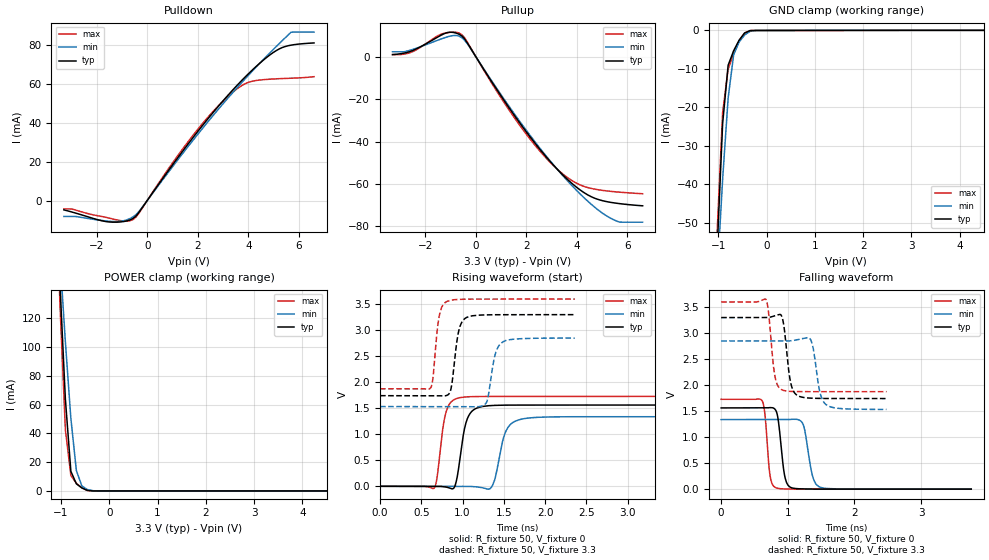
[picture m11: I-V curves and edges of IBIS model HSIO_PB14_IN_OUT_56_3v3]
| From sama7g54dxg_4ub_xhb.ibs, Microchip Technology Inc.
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|   Model   HSIO_PB14_IN_OUT_66
[Model] HSIO_PB14_IN_OUT_56_3v3
Model_type I/O
Enable   Active-High
Vinl  =  0.99
Vinh  =  2.31
Vmeas =  1.650
| Capacitance   typ   min   max
C_comp   1.068541701113554e-12   1.016571393773621e-12   1.139369895251705e-12
| Variables   typ   min   max
[GND Clamp Reference]   0   0   0
[POWER Clamp Reference]   3.3   2.85   3.6
[Pulldown Reference]   0   0   0
[Pullup Reference]   3.3   2.85   3.6
[Temperature Range]   25   125   -40
[Voltage Range]   3.3   2.85   3.6
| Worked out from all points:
|   slope of the pulldown table from 0 to 0.495 V, typ, clamps not added: 54.1 ohm
|   slope of the pullup table from 0 to 0.495 V, typ, clamps not added: 52.9 ohm
|   GND clamp passes 1 mA (typ) near -0.47 V on its own axis
|   POWER clamp passes 1 mA (typ) near -0.50 V on its own axis
|   falling waveform, R_fixture 50, V_fixture 0: 20-80 % time 80.4ps typ, 104ps min, 63.3ps max; typ from 1.56 V to 0.001 V
|   falling waveform, R_fixture 50, V_fixture 3.3: 20-80 % time 85.9ps typ, 99.7ps min, 77.7ps max; typ from 3.3 V to 1.74 V
|   rising waveform, R_fixture 50, V_fixture 0: 20-80 % time 98ps typ, 118ps min, 86.9ps max; typ from 0 V to 1.56 V
|   rising waveform, R_fixture 50, V_fixture 3.3: 20-80 % time 76ps typ, 87.5ps min, 65ps max; typ from 1.74 V to 3.3 V
[GND Clamp]
| Voltage   I(typ)   I(min)   I(max)
-3.3V     -929.1mA   -542.5mA   -1.152A
-1.024V   -57.05mA   -64.05mA   -52.48mA
-910.3mV  -24.26mA   -38.73mA   -21.41mA
-796.6mV  -9.1mA     -17.67mA   -10.13mA
-682.8mV  -5.32mA    -6.383mA   -6.018mA
-569mV    -2.568mA   -3.041mA   -2.759mA
-455.2mV  -677.7uA   -1.206mA   -728.3uA
-341.4mV  -70.25uA   -271.9uA   -72.06uA
-113.8mV  -34.12uA   -25.48uA   -45.7uA
6.6V      0A         0A         0A
[POWER Clamp]
| Voltage   I(typ)   I(min)   I(max)
-3.3V     2.134A     1.237A     2.671A
-1.138V   234.7mA    225.9mA    258.9mA
-1.024V   144.5mA    163.2mA    130.8mA
-910.3mV  63.72mA    103.5mA    42.5mA
-796.6mV  13.63mA    50.37mA    10.74mA
-682.8mV  4.957mA    14.13mA    5.284mA
-569mV    2.071mA    3.44mA     2.128mA
-455.2mV  359.6uA    975.1uA    378.6uA
-227.6mV  2.45uA     12.53uA    2.818uA
6.6V      0A         0A         0A
[Pullup]
| Voltage   I(typ)   I(min)   I(max)
-3.3V     1.027mA    2.356mA    1.022mA
-2.503V   2.968mA    3.458mA    2.416mA
-1.138V   11.39mA    9.363mA    11.35mA
-569mV    9.925mA    9.112mA    10.54mA
-341.4mV  6.559mA    6.218mA    6.96mA
1.707V    -30.73mA   -30mA      -31.85mA
2.503V    -43.21mA   -42.65mA   -44.07mA
3.3V      -54.04mA   -54.18mA   -53.88mA
4.324V    -64.42mA   -66.98mA   -61.34mA
5.234V    -68.47mA   -75.52mA   -63.36mA
5.69V     -69.28mA   -78.01mA   -63.88mA
6.6V      -70.31mA   -78.04mA   -64.62mA
[Pulldown]
| Voltage   I(typ)   I(min)   I(max)
-3.3V     -4.814mA   -8.18mA    -4.296mA
-1.593V   -10.89mA   -10.55mA   -8.774mA
-1.024V   -10.96mA   -10.6mA    -10.4mA
-569mV    -9.249mA   -8.451mA   -9.808mA
-227.6mV  -4.201mA   -3.951mA   -4.481mA
1.934V    34.4mA     32.97mA    35.52mA
2.731V    47.14mA    45.61mA    47.52mA
3.528V    58.78mA    57.54mA    57.12mA
4.097V    66.27mA    65.63mA    61.08mA
4.893V    75.16mA    76.35mA    62.36mA
5.69V     79.81mA    86.43mA    62.83mA
6.6V      80.95mA    86.52mA    63.61mA
[Ramp]
dV/dt_r   0.937498/98.0746p  0.80293/0.117612n  1.03705/86.8666p
dV/dt_f   0.934732/86.0054p  0.790335/99.7941p  1.03551/77.7618p
R_load = 50
[Falling Waveform]
R_fixture = 50
V_fixture = 0
V_fixture_min = 0
V_fixture_max = 0
| Time   V(typ)   V(min)   V(max)
0s        1.562V     1.338V     1.728V
613.1ps   1.563V     1.339V     1.703V
732.4ps   1.568V     1.339V     274.7mV
814.4ps   1.526V     1.339V     30.24mV
950.9ps   274.1mV    1.339V     4.42mV
1.041ns   35.11mV    1.342V     2.075mV
1.232ns   4.616mV    1.244V     1.086mV
1.369ns   1.936mV    267.5mV    1.028mV
1.482ns   1.236mV    39.05mV    979.3uV
3.754ns   847.5uV    308.1uV    95.75uV
[Falling Waveform]
R_fixture = 50
V_fixture = 3.3
V_fixture_min = 2.85
V_fixture_max = 3.6
| Time   V(typ)   V(min)   V(max)
0s        3.3V       2.85V      3.6V
674.4ps   3.299V     2.849V     3.646V
806.5ps   3.336V     2.849V     2.177V
914.1ps   3.308V     2.849V     1.909V
1.031ns   2.132V     2.851V     1.881V
1.126ns   1.819V     2.87V      1.877V
1.346ns   1.75V      2.867V     1.875V
1.48ns    1.745V     1.88V      1.875V
1.571ns   1.744V     1.63V      1.875V
2.483ns   1.743V     1.534V     1.875V
[Rising Waveform]
R_fixture = 50
V_fixture = 0
V_fixture_min = 0
V_fixture_max = 0
| Time   V(typ)   V(min)   V(max)
0s        36.39nV    316.8nV    138.3nV
654.7ps   -836.6uV   -523.4uV   -37.04mV
797.3ps   -14.22mV   -637.4uV   1.411V
894.9ps   -32.81mV   -715.5uV   1.664V
960.8ps   443.8mV    -768.1uV   1.702V
1.116ns   1.447V     -4.301mV   1.724V
1.349ns   1.553V     -20.55mV   1.727V
1.523ns   1.56V      1.052V     1.727V
1.75ns    1.562V     1.302V     1.728V
6.438ns   1.562V     1.338V     1.728V
[Rising Waveform]
R_fixture = 50
V_fixture = 3.3
V_fixture_min = 2.85
V_fixture_max = 3.6
| Time   V(typ)   V(min)   V(max)
0s        1.742V     1.533V     1.874V
614.4ps   1.742V     1.532V     1.896V
716.3ps   1.741V     1.532V     3.267V
810.7ps   1.748V     1.532V     3.554V
866.2ps   1.922V     1.532V     3.58V
955.3ps   2.996V     1.532V     3.593V
1.047ns   3.245V     1.532V     3.598V
1.289ns   3.296V     1.609V     3.599V
1.488ns   3.299V     2.778V     3.599V
2.36ns    3.3V       2.849V     3.6V
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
